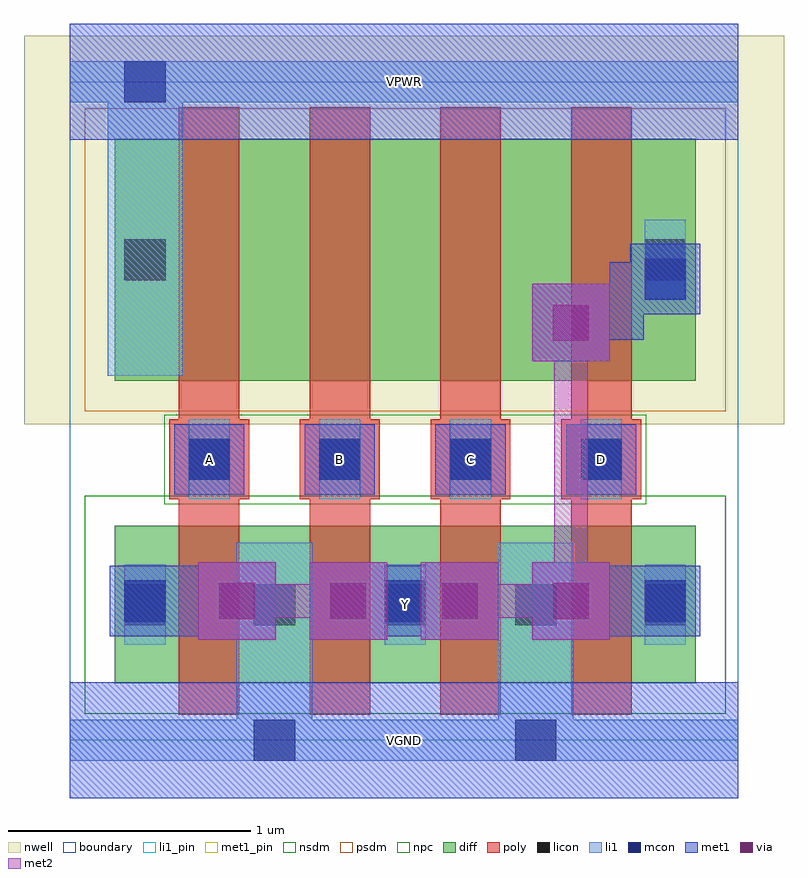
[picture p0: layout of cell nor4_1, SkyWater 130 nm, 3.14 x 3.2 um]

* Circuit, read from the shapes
.subckt nor4_1 A B C D VGND VPWR Y
XM1 VGND A Y VSUBS sky130_fd_pr__nfet_01v8 w=0.65 l=0.25
XM2 Y B VGND VSUBS sky130_fd_pr__nfet_01v8 w=0.65 l=0.25
XM3 VGND C Y VSUBS sky130_fd_pr__nfet_01v8 w=0.65 l=0.25
XM4 Y D VGND VSUBS sky130_fd_pr__nfet_01v8 w=0.65 l=0.25
XM5 n1 A VPWR n2 sky130_fd_pr__pfet_01v8 w=1 l=0.25
XM6 n3 B n1 n2 sky130_fd_pr__pfet_01v8 w=1 l=0.25
XM7 n4 C n3 n2 sky130_fd_pr__pfet_01v8 w=1 l=0.25
XM8 Y D n4 n2 sky130_fd_pr__pfet_01v8 w=1 l=0.25
.ends

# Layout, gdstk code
import gdstk
lib = gdstk.Library(unit=1e-6, precision=1e-09)
def R(c, l, rs):  # rectangles x0, y0, x1, y1
    for r in rs: c.add(gdstk.rectangle(r[:2], r[2:], *l))
def A(c, l, x, y, w, h, nx, ny, dx, dy):  # array of equal rectangles
    R(c, l, [(x+i*dx, y+j*dy, x+i*dx+w, y+j*dy+h) for i in range(nx) for j in range(ny)])
nwell = (64, 20)
diff = (65, 20)
poly = (66, 20)
licon = (66, 44)
li1_pin = (67, 16)
li1 = (67, 20)
mcon = (67, 44)
met1_pin = (68, 16)
met1 = (68, 20)
via = (68, 44)
met2 = (69, 20)
nsdm = (93, 44)
psdm = (94, 20)
npc = (95, 20)
boundary = (235, 4)

nor4_1 = lib.new_cell('nor4_1')
R(nor4_1, nwell, [(-0.19,1.305,2.95,2.91), (0,1.305,2.76,2.91)])
R(nor4_1, diff, [(0.185,0.235,2.585,0.885), (0.185,1.485,2.585,2.485)])
A(nor4_1, poly, 0.45, 0.105, 0.25, 2.51, 4, 1, 0.54, 0)
A(nor4_1, poly, 0.41, 0.995, 0.33, 0.33, 4, 1, 0.54, 0)
A(nor4_1, licon, 0.76, 0.475, 0.17, 0.17, 3, 1, 0.54, 0)
A(nor4_1, licon, 0.49, 1.075, 0.17, 0.17, 4, 1, 0.54, 0)
R(nor4_1, licon, [(0.225,0.475,0.395,0.645), (2.375,0.475,2.545,0.645), (0.225,1.9,0.395,2.07), (2.375,1.9,2.545,2.07)])
R(nor4_1, li1_pin, [(1.3,0.395,1.47,0.725)])
A(nor4_1, li1, 0.225, 0.395, 0.17, 0.33, 3, 1, 1.075, 0)
A(nor4_1, li1, 0.49, 0.995, 0.17, 0.33, 4, 1, 0.54, 0)
R(nor4_1, li1, [(0,-0.085,2.76,0.085), (0.69,-0.085,1,0.815), (1.77,-0.085,2.08,0.815), (0.155,1.505,0.465,2.805), (2.375,1.82,2.545,2.15), (0,2.635,2.76,2.805)])
A(nor4_1, mcon, 0.225, 0.49, 0.17, 0.17, 3, 1, 1.075, 0)
A(nor4_1, mcon, 0.49, 1.075, 0.17, 0.17, 4, 1, 0.54, 0)
R(nor4_1, mcon, [(0.76,-0.085,0.93,0.085), (1.84,-0.085,2.01,0.085), (2.375,1.82,2.545,1.99), (0.225,2.635,0.395,2.805)])
A(nor4_1, met1_pin, 0.43, 1.015, 0.29, 0.29, 4, 1, 0.54, 0)
R(nor4_1, met1_pin, [(0,-0.24,2.76,0.24), (0,2.48,2.76,2.96)])
A(nor4_1, met1, 0.53, 0.415, 0.32, 0.32, 4, 1, 0.46, 0)
A(nor4_1, met1, 0.165, 0.43, 0.29, 0.29, 3, 1, 1.075, 0)
A(nor4_1, met1, 0.43, 1.015, 0.29, 0.29, 4, 1, 0.54, 0)
R(nor4_1, met1, [(0,-0.24,2.76,0.24), (0.455,0.43,0.53,0.72), (2.23,0.43,2.315,0.72), (0.24,0.505,0.53,0.645), (0.39,0.505,0.76,0.645), (1.08,0.505,1.335,0.645), (1.195,0.505,1.455,0.645), (1.195,0.505,1.68,0.645), (2,0.505,2.37,0.645), (2.23,0.505,2.53,0.645), (1.91,1.565,2.23,1.885), (2,1.655,2.37,1.795), (2.23,1.655,2.37,1.975), (2.315,1.76,2.605,2.05), (2.23,1.835,2.53,1.975), (0,2.48,2.76,2.96)])
A(nor4_1, via, 0.615, 0.5, 0.15, 0.15, 4, 1, 0.46, 0)
R(nor4_1, via, [(1.995,1.65,2.145,1.8)])
A(nor4_1, met2, 0.53, 0.415, 0.32, 0.32, 4, 1, 0.46, 0)
R(nor4_1, met2, [(0.62,0.505,1.22,0.645), (1.54,0.505,2.14,0.645), (2,0.505,2.14,1.795), (1.91,1.565,2.23,1.885)])
R(nor4_1, nsdm, [(0.06,0.11,2.71,1.01)])
R(nor4_1, psdm, [(0.06,1.36,2.71,2.61)])
R(nor4_1, npc, [(0.39,0.975,2.38,1.345)])
R(nor4_1, boundary, [(0,0,2.76,2.72)])
nor4_1.add(gdstk.Label('Y', (1.385,0.56), layer=67, texttype=5))
nor4_1.add(gdstk.Label('A', (0.575,1.16), layer=68, texttype=5))
nor4_1.add(gdstk.Label('B', (1.115,1.16), layer=68, texttype=5))
nor4_1.add(gdstk.Label('C', (1.655,1.16), layer=68, texttype=5))
nor4_1.add(gdstk.Label('D', (2.195,1.16), layer=68, texttype=5))
nor4_1.add(gdstk.Label('VPWR', (1.38,2.72), layer=68, texttype=5))
nor4_1.add(gdstk.Label('VGND', (1.38,0), layer=68, texttype=5))
nor4_1.add(gdstk.Label('Y', (1.385,0.56), layer=67, texttype=16))
nor4_1.add(gdstk.Label('A', (0.575,1.16), layer=68, texttype=16))
nor4_1.add(gdstk.Label('B', (1.115,1.16), layer=68, texttype=16))
nor4_1.add(gdstk.Label('C', (1.655,1.16), layer=68, texttype=16))
nor4_1.add(gdstk.Label('D', (2.195,1.16), layer=68, texttype=16))
nor4_1.add(gdstk.Label('VPWR', (1.38,2.72), layer=68, texttype=16))
nor4_1.add(gdstk.Label('VGND', (1.38,0), layer=68, texttype=16))

lib.write_gds('nor4_1.gds')
